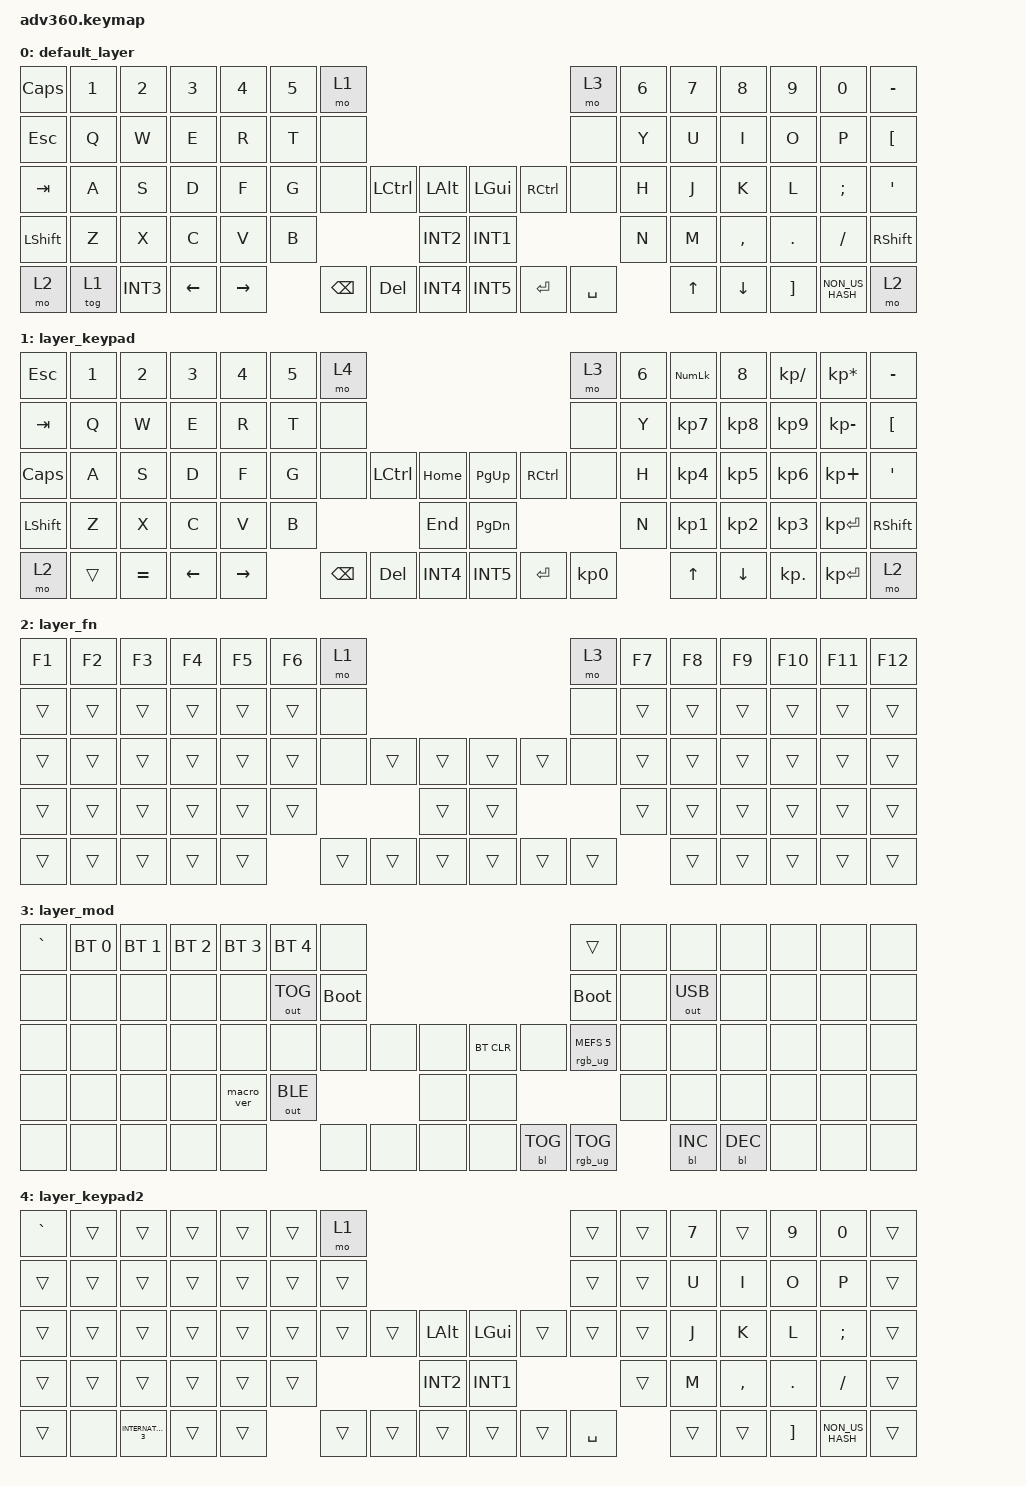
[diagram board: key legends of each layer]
/*
 * Copyright (c) 2020 The ZMK Contributors
 *
 * SPDX-License-Identifier: MIT
 */
/* THIS FILE WAS GENERATED!
 *
 * This file was generated automatically. You may or may not want to
 * edit it directly.
 */

#include <behaviors.dtsi>
#include <dt-bindings/zmk/backlight.h>
#include <dt-bindings/zmk/bt.h>
#include <dt-bindings/zmk/keys.h>
#include <dt-bindings/zmk/outputs.h>
#include <dt-bindings/zmk/rgb.h>

/ {
    behaviors {
        #include "macros.dtsi"
    #include "version.dtsi"

        hm: homerow_mods {
            compatible = "zmk,behavior-hold-tap";
            label = "HOMEROW_MODS";
            #binding-cells = <2>;
            tapping-term-ms = <200>;
            quick_tap_ms = <175>;
            flavor = "tap-preferred";
            bindings = <&kp>, <&kp>;
        };
    };

    keymap {
        compatible = "zmk,keymap";

        default_layer {
            bindings = <
&kp CAPS   &kp N1  &kp N2    &kp N3    &kp N4     &kp N5  &mo 1                                                   &mo 3      &kp N6  &kp N7  &kp N8     &kp N9             &kp N0           &kp MINUS
&kp ESC    &kp Q   &kp W     &kp E     &kp R      &kp T   &none                                                   &none      &kp Y   &kp U   &kp I      &kp O              &kp P            &kp LEFT_BRACKET
&kp TAB    &kp A   &kp S     &kp D     &kp F      &kp G   &none     &kp LCTRL  &kp LALT      &kp LGUI  &kp RCTRL  &none      &kp H   &kp J   &kp K      &kp L              &kp SEMICOLON    &kp SINGLE_QUOTE
&kp LSHFT  &kp Z   &kp X     &kp C     &kp V      &kp B                        &kp INT2      &kp INT1                        &kp N   &kp M   &kp COMMA  &kp DOT            &kp FSLH         &kp RSHFT
&mo 2      &tog 1  &kp INT3  &kp LEFT  &kp RIGHT          &kp BSPC  &kp DEL    &kp INT4      &kp INT5  &kp ENTER  &kp SPACE          &kp UP  &kp DOWN   &kp RIGHT_BRACKET  &kp NON_US_HASH  &mo 2
            >;
        };

        layer_keypad {
            bindings = <
&kp ESC    &kp N1  &kp N2     &kp N3    &kp N4     &kp N5  &mo 4                                                    &mo 3      &kp N6  &kp KP_NUM  &kp N8     &kp KP_DIVIDE  &kp KP_MULTIPLY  &kp MINUS
&kp TAB    &kp Q   &kp W      &kp E     &kp R      &kp T   &none                                                    &none      &kp Y   &kp KP_N7   &kp KP_N8  &kp KP_N9      &kp KP_MINUS     &kp LEFT_BRACKET
&kp CAPS   &kp A   &kp S      &kp D     &kp F      &kp G   &none     &kp LCTRL  &kp HOME      &kp PG_UP  &kp RCTRL  &none      &kp H   &kp KP_N4   &kp KP_N5  &kp KP_N6      &kp KP_PLUS      &kp SINGLE_QUOTE
&kp LSHFT  &kp Z   &kp X      &kp C     &kp V      &kp B                        &kp END       &kp PG_DN                        &kp N   &kp KP_N1   &kp KP_N2  &kp KP_N3      &kp KP_ENTER     &kp RSHFT
&mo 2      &trans  &kp EQUAL  &kp LEFT  &kp RIGHT          &kp BSPC  &kp DEL    &kp INT4      &kp INT5   &kp ENTER  &kp KP_N0          &kp UP      &kp DOWN   &kp KP_DOT     &kp KP_ENTER     &mo 2
            >;
        };

        layer_fn {
            bindings = <
&kp F1  &kp F2  &kp F3  &kp F4  &kp F5  &kp F6  &mo 1                                       &mo 3   &kp F7  &kp F8  &kp F9  &kp F10  &kp F11  &kp F12
&trans  &trans  &trans  &trans  &trans  &trans  &none                                       &none   &trans  &trans  &trans  &trans   &trans   &trans
&trans  &trans  &trans  &trans  &trans  &trans  &none   &trans  &trans      &trans  &trans  &none   &trans  &trans  &trans  &trans   &trans   &trans
&trans  &trans  &trans  &trans  &trans  &trans                  &trans      &trans                  &trans  &trans  &trans  &trans   &trans   &trans
&trans  &trans  &trans  &trans  &trans          &trans  &trans  &trans      &trans  &trans  &trans          &trans  &trans  &trans   &trans   &trans
            >;
        };

        layer_mod {
            bindings = <
&kp GRAVE  &bt BT_SEL 0  &bt BT_SEL 1  &bt BT_SEL 2  &bt BT_SEL 3  &bt BT_SEL 4  &none                                                  &trans                  &none  &none         &none       &none  &none  &none
&none      &none         &none         &none         &none         &out OUT_TOG  &bootloader                                            &bootloader             &none  &out OUT_USB  &none       &none  &none  &none
&none      &none         &none         &none         &none         &none         &none        &none  &none      &bt BT_CLR  &none       &rgb_ug RGB_MEFS_CMD 5  &none  &none         &none       &none  &none  &none
&none      &none         &none         &none         &macro_ver    &out OUT_BLE                      &none      &none                                           &none  &none         &none       &none  &none  &none
&none      &none         &none         &none         &none                       &none        &none  &none      &none       &bl BL_TOG  &rgb_ug RGB_TOG                &bl BL_INC    &bl BL_DEC  &none  &none  &none
            >;
        };

        layer_keypad2 {
            bindings = <
&kp GRAVE  &trans  &trans               &trans  &trans  &trans  &mo 1                                           &trans     &trans  &kp N7  &trans     &kp N9             &kp N0           &trans
&trans     &trans  &trans               &trans  &trans  &trans  &trans                                          &trans     &trans  &kp U   &kp I      &kp O              &kp P            &trans
&trans     &trans  &trans               &trans  &trans  &trans  &trans  &trans  &kp LALT      &kp LGUI  &trans  &trans     &trans  &kp J   &kp K      &kp L              &kp SEMICOLON    &trans
&trans     &trans  &trans               &trans  &trans  &trans                  &kp INT2      &kp INT1                     &trans  &kp M   &kp COMMA  &kp DOT            &kp FSLH         &trans
&trans     &none   &kp INTERNATIONAL_3  &trans  &trans          &trans  &trans  &trans        &trans    &trans  &kp SPACE          &trans  &trans     &kp RIGHT_BRACKET  &kp NON_US_HASH  &trans
            >;
        };
    };
};
